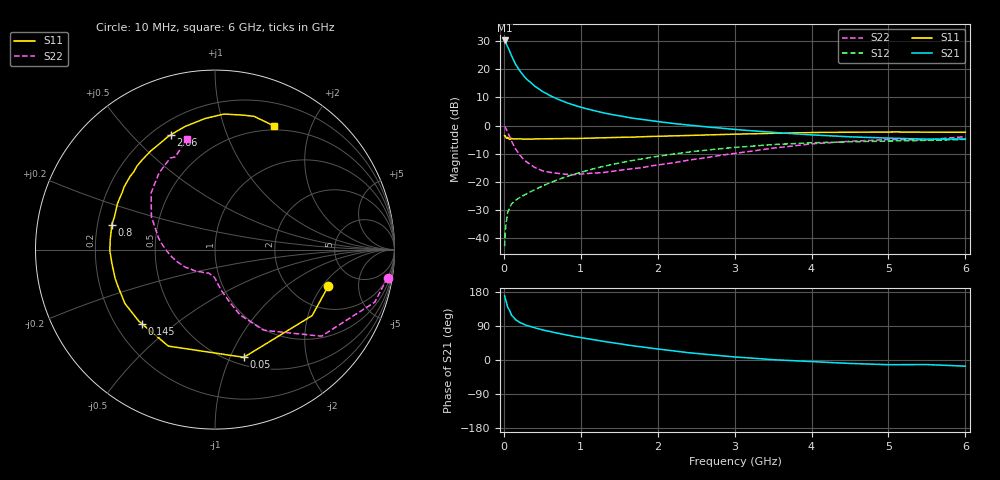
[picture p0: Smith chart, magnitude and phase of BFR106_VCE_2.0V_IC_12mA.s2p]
! Infineon Technologies  Discrete & RF Semiconductors
! BFR106
! VCE =  2.0 V,  IC =  12 mA
! Common Emitter S-Parameters:  Nov 2015
# GHz  S  MA  R  50
!  f  S11  S21  S12  S22
! GHz  MAG  ANG  MAG  ANG  MAG  ANG  MAG  ANG
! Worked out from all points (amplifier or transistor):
!   210 points, 10 MHz to 6 GHz, reference 50 ohm
!   highest |S21| = 30.2 dB at 10 MHz (marker M1)
!   |S21| within 3 dB of that: start of sweep to 62.39 MHz
!   unconditionally stable (mu >= 1): 443.7 MHz to 2.387 GHz; 4.706 GHz to end of sweep
!   at 185 MHz: K = 0.63, MSG = 23.1 dB, |S12| = -25.9 dB
!   at 1.52 GHz: K = 1.08, MAG = 6.5 dB, |S12| = -13.1 dB
!   at 6 GHz: K = 1.02, MAG = -0.8 dB, |S12| = -4.9 dB
!   S11 on the Smith chart (normalised r, x): 10 MHz: 3.17, -2.30; 50 MHz: 0.58, -1.13; 145 MHz: 0.31, -0.38; 800 MHz: 0.26, +0.11; 2.66 GHz: 0.27, +0.65; 6 GHz: 0.45, +1.49
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0.01  0.6636 -17.8  32.34 169.5  0.0073 83.5  0.9744 -9.2
0.02  0.6544 -34.2  30.98 161.0  0.0137 77.0  0.9372 -18.2
0.05  0.6213 -75.0  25.08 138.7  0.0289 59.6  0.7648 -39.1
0.1  0.5972 -115.8  17.14 118.1  0.0408 47.9  0.5252 -58.8
0.145  0.5803 -134.7  12.81 108.1  0.0467 45.7  0.4025 -67.7
0.15  0.5824 -136.8  12.36 106.6  0.0474 45.5  0.3897 -69.0
0.2  0.5849 -149.1  9.672 99.9  0.0523 46.1  0.3099 -74.0
0.24  0.5788 -155.9  8.189 95.8  0.0563 47.2  0.2658 -77.5
0.26  0.5781 -158.9  7.577 93.9  0.0583 48.0  0.249 -79.2
0.3  0.5792 -163.9  6.59 90.9  0.0624 50.0  0.2252 -81.7
0.4  0.5797 -172.8  5.025 84.8  0.0729 53.3  0.1819 -86.3
0.5  0.5857 -179.3  4.05 79.5  0.0847 56.2  0.1582 -90.2
0.6  0.5863 175.1  3.405 74.9  0.097 57.8  0.1482 -93.8
0.8  0.5922 166.5  2.595 66.5  0.1225 59.4  0.1374 -102.5
1.02  0.5952 157.5  2.086 58.4  0.1516 59.8  0.139 -110.9
1.4  0.6153 145.3  1.575 46.0  0.2036 57.6  0.1549 -127.4
2.02  0.6468 127.3  1.172 28.6  0.2889 50.5  0.2028 -154.9
2.66  0.6852 111.1  0.942 14.4  0.3715 41.0  0.2745 179.9
3.1  0.7098 101.7  0.835 6.7  0.4205 33.7  0.3351 164.4
4.1  0.7574 84.8  0.675 -5.3  0.5001 17.7  0.4846 135.8
5.1  0.7716 72.6  0.596 -12.3  0.5354 4.3  0.5665 115.5
6  0.7629 64.4  0.578 -16.3  0.5708 -5.4  0.6367 104.1
